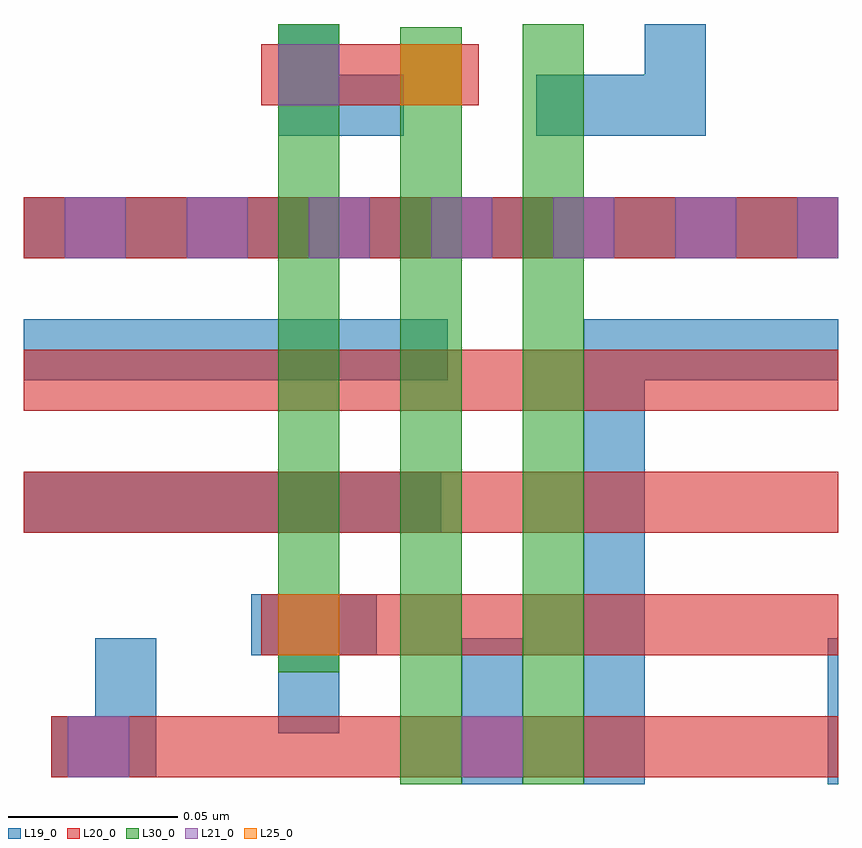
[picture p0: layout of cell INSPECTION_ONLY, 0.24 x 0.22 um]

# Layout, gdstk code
import gdstk
lib = gdstk.Library(unit=1e-6, precision=2.5e-10)
def R(c, l, rs):  # rectangles x0, y0, x1, y1
    for r in rs: c.add(gdstk.rectangle(r[:2], r[2:], *l))
def A(c, l, x, y, w, h, nx, ny, dx, dy):  # array of equal rectangles
    R(c, l, [(x+i*dx, y+j*dy, x+i*dx+w, y+j*dy+h) for i in range(nx) for j in range(ny)])
def P(c, l, *ps):  # polygons
    for p in ps: c.add(gdstk.Polygon(p, *l))
L19_0 = (19, 0)
L20_0 = (20, 0)
L21_0 = (21, 0)
L25_0 = (25, 0)
L30_0 = (30, 0)

inspection_only = lib.new_cell('INSPECTION_ONLY')
R(inspection_only, L19_0, [(2.502,2.536,2.52,2.579), (2.538,2.536,2.556,2.673), (2.61,2.536,2.613,2.579), (2.381,2.538,2.412,2.556), (2.394,2.538,2.412,2.579), (2.448,2.551,2.466,2.592), (2.44,2.574,2.477,2.592), (2.373,2.61,2.496,2.628), (2.373,2.655,2.498,2.673), (2.538,2.655,2.613,2.673), (2.373,2.691,2.613,2.709), (2.373,2.691,2.613,2.709), (2.373,2.691,2.613,2.709), (2.373,2.691,2.43,2.709), (2.43,2.691,2.592,2.709), (2.592,2.691,2.613,2.709), (2.448,2.734,2.466,2.756)])
P(inspection_only, L19_0, [(2.448,2.727),(2.448,2.76),(2.466,2.76),(2.466,2.745),(2.485,2.745),(2.485,2.727)],
  [(2.524,2.727),(2.524,2.745),(2.556,2.745),(2.556,2.76),(2.574,2.76),(2.574,2.727)])
R(inspection_only, L20_0, [(2.381,2.538,2.613,2.556), (2.443,2.574,2.471,2.592), (2.443,2.574,2.613,2.592), (2.443,2.574,2.613,2.592), (2.373,2.61,2.613,2.628), (2.373,2.646,2.613,2.664), (2.373,2.691,2.613,2.709), (2.443,2.736,2.507,2.754)])
A(inspection_only, L21_0, 2.385, 2.691, 0.018, 0.018, 6, 1, 0.036, 0)
R(inspection_only, L21_0, [(2.386,2.538,2.404,2.556), (2.502,2.538,2.52,2.556), (2.448,2.574,2.466,2.592), (2.601,2.691,2.613,2.709), (2.448,2.736,2.466,2.754)])
R(inspection_only, L25_0, [(2.448,2.574,2.466,2.592), (2.484,2.736,2.502,2.754)])
R(inspection_only, L30_0, [(2.484,2.536,2.502,2.759), (2.52,2.536,2.538,2.76), (2.448,2.569,2.466,2.76)])

lib.write_gds('INSPECTION_ONLY.gds')
